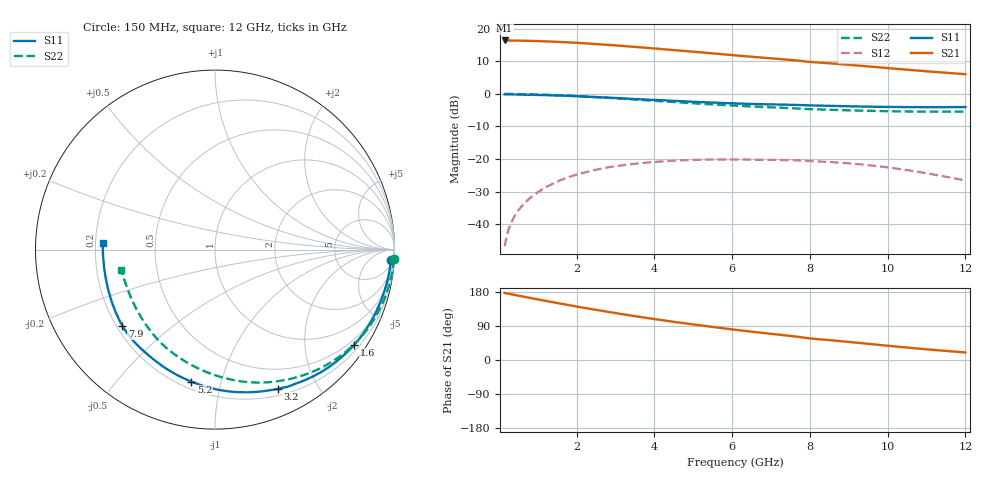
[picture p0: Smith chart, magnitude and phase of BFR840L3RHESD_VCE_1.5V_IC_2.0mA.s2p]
! Infineon Technologies  Discrete & RF Semiconductors
! BFR840L3RHESD
! VCE =  1.5 V,  IC =  2.0 mA
! Common Emitter S-Parameters:  Jun 2012
# GHz  S  MA  R  50
!  f  S11  S21  S12  S22
! GHz  MAG  ANG  MAG  ANG  MAG  ANG  MAG  ANG
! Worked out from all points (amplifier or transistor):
!   91 points, 150 MHz to 12 GHz, reference 50 ohm
!   highest |S21| = 16.4 dB at 150 MHz (marker M1)
!   |S21| within 3 dB of that: start of sweep to 4.543 GHz
!   unconditionally stable (mu >= 1): 10.05 GHz to end of sweep
!   at 1.3 GHz: K = 0.06, MSG = 22.1 dB, |S12| = -28.1 dB
!   at 4.3 GHz: K = 0.20, MSG = 17.1 dB, |S12| = -20.7 dB
!   at 12 GHz: K = 2.07, MAG = 10.4 dB, |S12| = -26.6 dB
!   S11 on the Smith chart (normalised r, x): 150 MHz: 10, -30; 1.6 GHz: 0.35, -3.20; 3.2 GHz: 0.27, -1.51; 5.2 GHz: 0.24, -0.81; 7.9 GHz: 0.22, -0.34; 12 GHz: 0.23, +0.03
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0.15  0.9806 -3.4  6.592 176.9  0.0046 83.2  0.9977 -3.1
0.3  0.9795 -6.8  6.578 174.0  0.0099 82.9  0.9961 -6.1
0.6  0.9723 -13.2  6.536 167.9  0.0192 78.3  0.9898 -11.9
1.1  0.9581 -23.8  6.417 158.1  0.0337 70.4  0.9726 -21.4
1.6  0.9397 -34.3  6.237 148.6  0.0476 62.6  0.9486 -30.8
1.9  0.9252 -40.5  6.109 143.0  0.0552 57.7  0.9304 -36.3
2.2  0.9094 -46.7  5.964 137.5  0.0621 52.8  0.9104 -41.7
2.7  0.8803 -56.3  5.689 129.0  0.0725 45.7  0.8759 -50.3
3  0.8647 -62.1  5.548 123.8  0.0776 41.8  0.8536 -55.3
3.2  0.8506 -65.8  5.42 120.6  0.0804 38.6  0.8384 -58.7
3.7  0.8221 -74.9  5.138 112.6  0.0868 31.9  0.8027 -66.7
4.2  0.7961 -83.6  4.856 105.1  0.0919 25.6  0.7686 -74.3
4.7  0.7707 -92.0  4.583 98.0  0.0955 19.7  0.7354 -81.7
5.2  0.7472 -100.1  4.324 91.2  0.0975 14.0  0.7045 -88.8
6.1  0.7127 -113.9  3.888 79.7  0.0983 4.6  0.6573 -101.2
6.8  0.6925 -124.0  3.582 71.3  0.0973 -1.8  0.6277 -110.3
7.5  0.6796 -133.8  3.314 63.5  0.0959 -7.6  0.6031 -119.2
7.9  0.6683 -140.5  3.137 58.3  0.0939 -12.1  0.5867 -125.3
8.5  0.6545 -147.7  2.943 52.5  0.09 -17.2  0.5702 -131.9
9.5  0.636 -159.2  2.634 42.7  0.0806 -26.1  0.549 -143.0
10.5  0.6261 -170.1  2.345 32.8  0.0676 -34.5  0.5361 -153.8
12  0.6271 176.6  2.001 19.8  0.0468 -40.4  0.5343 -167.7
